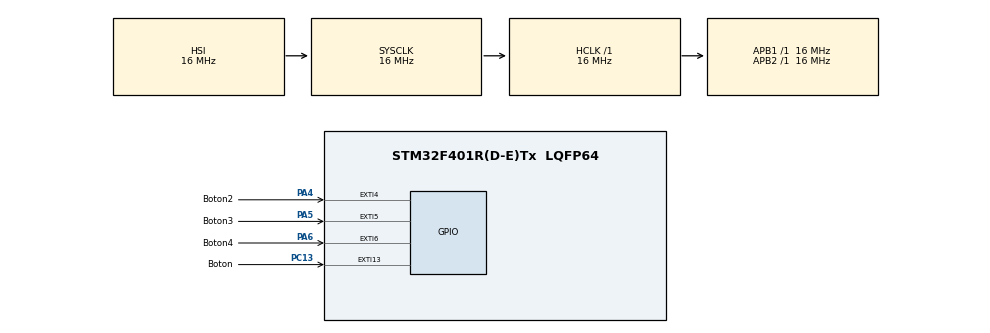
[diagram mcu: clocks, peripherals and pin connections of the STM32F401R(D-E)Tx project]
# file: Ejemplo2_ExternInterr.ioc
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Mcu.Family=STM32F4
Mcu.Name=STM32F401R(D-E)Tx
Mcu.Package=LQFP64
NVIC.EXTI15_10_IRQn=true\:0\:0\:false\:false\:true\:true\:true\:true
NVIC.EXTI4_IRQn=true\:0\:0\:false\:false\:true\:true\:true\:true
NVIC.EXTI9_5_IRQn=true\:0\:0\:false\:false\:true\:true\:true\:true
NVIC.PriorityGroup=NVIC_PRIORITYGROUP_4
PA13.Mode=Serial_Wire
PA13.Signal=SYS_JTMS-SWDIO
PA14.Mode=Serial_Wire
PA14.Signal=SYS_JTCK-SWCLK
PA4.GPIO_Label=Boton2
PA4.GPIO_ModeDefaultEXTI=GPIO_MODE_IT_FALLING
PA4.GPIO_PuPd=GPIO_PULLUP
PA4.Signal=GPXTI4
PA5.GPIO_Label=Boton3
PA5.GPIO_ModeDefaultEXTI=GPIO_MODE_IT_FALLING
PA5.GPIO_PuPd=GPIO_PULLUP
PA5.Signal=GPXTI5
PA6.GPIO_Label=Boton4
PA6.GPIO_ModeDefaultEXTI=GPIO_MODE_IT_FALLING
PA6.GPIO_PuPd=GPIO_PULLUP
PA6.Signal=GPXTI6
PC13-ANTI_TAMP.GPIO_Label=Boton
PC13-ANTI_TAMP.GPIO_ModeDefaultEXTI=GPIO_MODE_IT_FALLING
PC13-ANTI_TAMP.GPIO_PuPd=GPIO_PULLUP
PC13-ANTI_TAMP.Signal=GPXTI13
ProjectManager.HeapSize=0x200
ProjectManager.StackSize=0x400
ProjectManager.TargetToolchain=STM32CubeIDE
RCC.AHBFreq_Value=16000000
RCC.APB1Freq_Value=16000000
RCC.APB2Freq_Value=16000000
RCC.CortexFreq_Value=16000000
RCC.HSE_VALUE=25000000
RCC.HSI_VALUE=16000000
RCC.LSE_VALUE=32768
RCC.SYSCLKFreq_VALUE=16000000
RCC.VCOOutputFreq_Value=192000000
board=custom

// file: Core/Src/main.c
/* USER CODE BEGIN Header */
/**
  ******************************************************************************
  * @file           : main.c
  * @brief          : Main program body
  ******************************************************************************
  * @attention
  *
  * Copyright (c) 2023 STMicroelectronics.
  * All rights reserved.
  *
  * This software is licensed under terms that can be found in the LICENSE file
  * in the root directory of this software component.
  * If no LICENSE file comes with this software, it is provided AS-IS.
  *
  ******************************************************************************
  */
/* USER CODE END Header */
#include "main.h"

/* USER CODE BEGIN Includes */
#include "stdbool.h"
/* USER CODE END Includes */

void SystemClock_Config(void);
static void MX_GPIO_Init(void);

/* USER CODE BEGIN 0 */
volatile uint8_t contador[4];
 bool Bandera = false;
/* USER CODE END 0 */

int main(void)
{

  /* MCU Configuration--------------------------------------------------------*/

  /* Reset of all peripherals, Initializes the Flash interface and the Systick. */
  HAL_Init();

  /* Configure the system clock */
  SystemClock_Config();

  /* Initialize all configured peripherals */
  MX_GPIO_Init();

  /* Infinite loop */
  while (1)
  {

  }
}

void SystemClock_Config(void)
{
  RCC_OscInitTypeDef RCC_OscInitStruct = {0};
  RCC_ClkInitTypeDef RCC_ClkInitStruct = {0};

  /** Configure the main internal regulator output voltage
  */
  __HAL_RCC_PWR_CLK_ENABLE();
  __HAL_PWR_VOLTAGESCALING_CONFIG(PWR_REGULATOR_VOLTAGE_SCALE2);

  /** Initializes the RCC Oscillators according to the specified parameters
  * in the RCC_OscInitTypeDef structure.
  */
  RCC_OscInitStruct.OscillatorType = RCC_OSCILLATORTYPE_HSI;
  RCC_OscInitStruct.HSIState = RCC_HSI_ON;
  RCC_OscInitStruct.HSICalibrationValue = RCC_HSICALIBRATION_DEFAULT;
  RCC_OscInitStruct.PLL.PLLState = RCC_PLL_NONE;
  if (HAL_RCC_OscConfig(&RCC_OscInitStruct) != HAL_OK)
  {
    Error_Handler();
  }

  /** Initializes the CPU, AHB and APB buses clocks
  */
  RCC_ClkInitStruct.ClockType = RCC_CLOCKTYPE_HCLK|RCC_CLOCKTYPE_SYSCLK
                              |RCC_CLOCKTYPE_PCLK1|RCC_CLOCKTYPE_PCLK2;
  RCC_ClkInitStruct.SYSCLKSource = RCC_SYSCLKSOURCE_HSI;
  RCC_ClkInitStruct.AHBCLKDivider = RCC_SYSCLK_DIV1;
  RCC_ClkInitStruct.APB1CLKDivider = RCC_HCLK_DIV1;
  RCC_ClkInitStruct.APB2CLKDivider = RCC_HCLK_DIV1;

  if (HAL_RCC_ClockConfig(&RCC_ClkInitStruct, FLASH_LATENCY_0) != HAL_OK)
  {
    Error_Handler();
  }
}

static void MX_GPIO_Init(void)
{
  GPIO_InitTypeDef GPIO_InitStruct = {0};

  /* GPIO Ports Clock Enable */
  __HAL_RCC_GPIOC_CLK_ENABLE();
  __HAL_RCC_GPIOA_CLK_ENABLE();

  /*Configure GPIO pin : Boton_Pin */
  GPIO_InitStruct.Pin = Boton_Pin;
  GPIO_InitStruct.Mode = GPIO_MODE_IT_FALLING;
  GPIO_InitStruct.Pull = GPIO_PULLUP;
  HAL_GPIO_Init(Boton_GPIO_Port, &GPIO_InitStruct);

  /*Configure GPIO pins : Boton2_Pin Boton3_Pin Boton4_Pin */
  GPIO_InitStruct.Pin = Boton2_Pin|Boton3_Pin|Boton4_Pin;
  GPIO_InitStruct.Mode = GPIO_MODE_IT_FALLING;
  GPIO_InitStruct.Pull = GPIO_PULLUP;
  HAL_GPIO_Init(GPIOA, &GPIO_InitStruct);

  /* EXTI interrupt init*/
  HAL_NVIC_SetPriority(EXTI4_IRQn, 0, 0);
  HAL_NVIC_EnableIRQ(EXTI4_IRQn);

  HAL_NVIC_SetPriority(EXTI9_5_IRQn, 0, 0);
  HAL_NVIC_EnableIRQ(EXTI9_5_IRQn);

  HAL_NVIC_SetPriority(EXTI15_10_IRQn, 0, 0);
  HAL_NVIC_EnableIRQ(EXTI15_10_IRQn);

}

/* USER CODE BEGIN 4 */

void HAL_GPIO_EXTI_Callback(uint16_t GPIO_Pin){

	switch (GPIO_Pin) {
		case Boton_Pin:
			contador[0]++;
			break;
		case Boton2_Pin:
			contador[1]++;
			break;
		case Boton3_Pin:
			contador[2]++;
			break;
		case Boton4_Pin:
			contador[3]++;
			break;

		default:
			break;
	}

}

/* USER CODE END 4 */

void Error_Handler(void)
{
  __disable_irq();
  while (1)
  {
  }
}
